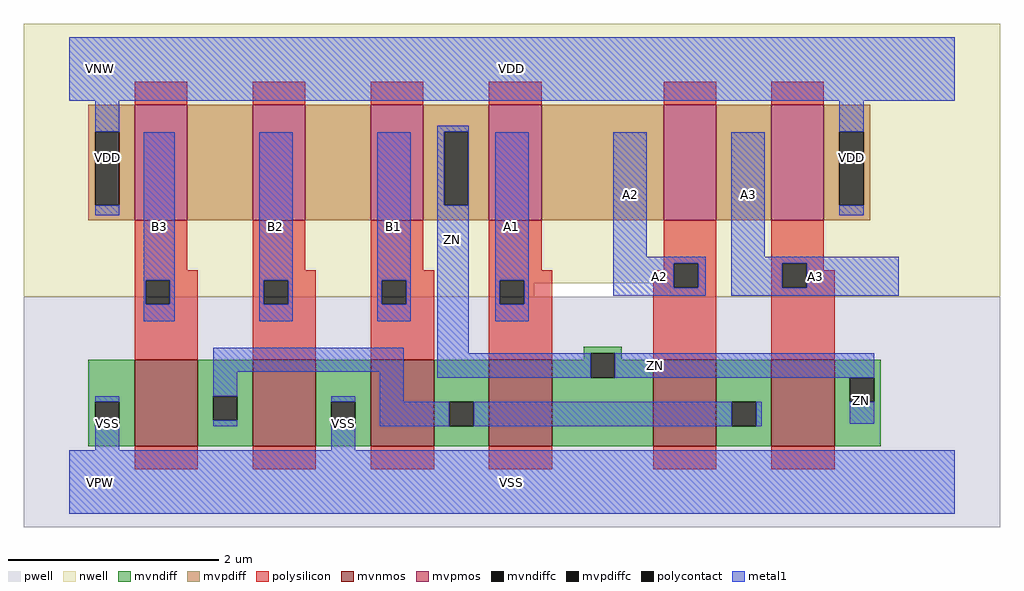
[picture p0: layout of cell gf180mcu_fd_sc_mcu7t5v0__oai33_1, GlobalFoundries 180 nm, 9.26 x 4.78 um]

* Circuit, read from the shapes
.subckt gf180mcu_fd_sc_mcu7t5v0__oai33_1 A1 A2 A3 B1 B2 B3 ZN VDD VNW VPW VSS
XM1 n1 B3 VSS VPW nfet_06v0 w=0.82u l=0.6u
XM2 VSS B2 n1 VPW nfet_06v0 w=0.82u l=0.6u
XM3 n1 B1 VSS VPW nfet_06v0 w=0.82u l=0.6u
XM4 ZN A1 n1 VPW nfet_06v0 w=0.82u l=0.6u
XM5 n1 A2 ZN VPW nfet_06v0 w=0.82u l=0.6u
XM6 ZN A3 n1 VPW nfet_06v0 w=0.82u l=0.6u
XM7 n2 B3 VDD VNW pfet_06v0 w=1.095u l=0.5u
XM8 n3 B2 n2 VNW pfet_06v0 w=1.095u l=0.5u
XM9 ZN B1 n3 VNW pfet_06v0 w=1.095u l=0.5u
XM10 n4 A1 ZN VNW pfet_06v0 w=1.095u l=0.5u
XM11 n5 A2 n4 VNW pfet_06v0 w=1.095u l=0.5u
XM12 VDD A3 n5 VNW pfet_06v0 w=1.095u l=0.5u
.ends

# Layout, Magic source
magic
tech gf180mcuD
magscale 1 10
<< nwell >>
rect -86 377 1766 870
rect -86 352 882 377
rect 1139 352 1766 377
<< pwell >>
rect -86 -86 1766 352
<< mvnmos >>
rect 124 68 244 232
rect 348 68 468 232
rect 572 68 692 232
rect 796 68 916 232
rect 1108 68 1228 232
rect 1332 68 1452 232
<< mvpmos >>
rect 124 497 224 716
rect 348 497 448 716
rect 572 497 672 716
rect 796 497 896 716
rect 1128 497 1228 716
rect 1332 497 1432 716
<< mvndiff >>
rect 976 244 1048 257
rect 976 232 989 244
rect 36 152 124 232
rect 36 106 49 152
rect 95 106 124 152
rect 36 68 124 106
rect 244 163 348 232
rect 244 117 273 163
rect 319 117 348 163
rect 244 68 348 117
rect 468 152 572 232
rect 468 106 497 152
rect 543 106 572 152
rect 468 68 572 106
rect 692 152 796 232
rect 692 106 721 152
rect 767 106 796 152
rect 692 68 796 106
rect 916 198 989 232
rect 1035 232 1048 244
rect 1035 198 1108 232
rect 916 68 1108 198
rect 1228 152 1332 232
rect 1228 106 1257 152
rect 1303 106 1332 152
rect 1228 68 1332 106
rect 1452 198 1540 232
rect 1452 152 1481 198
rect 1527 152 1540 198
rect 1452 68 1540 152
<< mvpdiff >>
rect 36 665 124 716
rect 36 525 49 665
rect 95 525 124 665
rect 36 497 124 525
rect 224 497 348 716
rect 448 497 572 716
rect 672 665 796 716
rect 672 525 711 665
rect 757 525 796 665
rect 672 497 796 525
rect 896 497 1128 716
rect 1228 497 1332 716
rect 1432 665 1520 716
rect 1432 525 1461 665
rect 1507 525 1520 665
rect 1432 497 1520 525
<< mvndiffc >>
rect 49 106 95 152
rect 273 117 319 163
rect 497 106 543 152
rect 721 106 767 152
rect 989 198 1035 244
rect 1257 106 1303 152
rect 1481 152 1527 198
<< mvpdiffc >>
rect 49 525 95 665
rect 711 525 757 665
rect 1461 525 1507 665
<< polysilicon >>
rect 124 716 224 760
rect 348 716 448 760
rect 572 716 672 760
rect 796 716 896 760
rect 1128 716 1228 760
rect 1332 716 1432 760
rect 124 402 224 497
rect 348 402 448 497
rect 572 402 672 497
rect 796 402 896 497
rect 1128 415 1228 497
rect 1128 402 1147 415
rect 124 383 244 402
rect 124 337 145 383
rect 191 337 244 383
rect 124 232 244 337
rect 348 383 468 402
rect 348 337 369 383
rect 415 337 468 383
rect 348 232 468 337
rect 572 383 692 402
rect 572 337 593 383
rect 639 337 692 383
rect 572 232 692 337
rect 796 383 916 402
rect 796 337 817 383
rect 863 337 916 383
rect 796 232 916 337
rect 1108 369 1147 402
rect 1193 369 1228 415
rect 1108 232 1228 369
rect 1332 415 1432 497
rect 1332 369 1353 415
rect 1399 402 1432 415
rect 1399 369 1452 402
rect 1332 232 1452 369
rect 124 24 244 68
rect 348 24 468 68
rect 572 24 692 68
rect 796 24 916 68
rect 1108 24 1228 68
rect 1332 24 1452 68
<< polycontact >>
rect 145 337 191 383
rect 369 337 415 383
rect 593 337 639 383
rect 817 337 863 383
rect 1147 369 1193 415
rect 1353 369 1399 415
<< metal1 >>
rect 0 724 1680 844
rect 49 665 95 724
rect 698 665 758 676
rect 49 506 95 525
rect 141 383 200 664
rect 141 337 145 383
rect 191 337 200 383
rect 141 305 200 337
rect 360 383 424 664
rect 360 337 369 383
rect 415 337 424 383
rect 360 305 424 337
rect 584 383 648 664
rect 584 337 593 383
rect 639 337 648 383
rect 584 305 648 337
rect 698 525 711 665
rect 757 525 758 665
rect 1461 665 1507 724
rect 273 209 635 255
rect 273 163 319 209
rect 49 152 95 163
rect 273 106 319 117
rect 497 152 543 163
rect 589 152 635 209
rect 698 244 758 525
rect 808 383 872 664
rect 808 337 817 383
rect 863 337 872 383
rect 1032 428 1096 664
rect 1256 428 1320 664
rect 1461 506 1507 525
rect 1032 415 1208 428
rect 1032 369 1147 415
rect 1193 369 1208 415
rect 1032 354 1208 369
rect 1256 415 1574 428
rect 1256 369 1353 415
rect 1399 369 1574 415
rect 1256 354 1574 369
rect 808 305 872 337
rect 698 198 989 244
rect 1035 198 1527 244
rect 589 106 721 152
rect 767 106 1257 152
rect 1303 106 1314 152
rect 1481 111 1527 152
rect 49 60 95 106
rect 497 60 543 106
rect 0 -60 1680 60
<< labels >>
flabel metal1 s 1256 428 1320 664 0 FreeSans 400 0 0 0 A3
port 3 nsew default input
flabel metal1 s 584 305 648 664 0 FreeSans 400 0 0 0 B1
port 4 nsew default input
flabel metal1 s 360 305 424 664 0 FreeSans 400 0 0 0 B2
port 5 nsew default input
flabel metal1 s 141 305 200 664 0 FreeSans 400 0 0 0 B3
port 6 nsew default input
flabel metal1 s 0 724 1680 844 0 FreeSans 400 0 0 0 VDD
port 8 nsew power bidirectional abutment
flabel metal1 s 497 60 543 163 0 FreeSans 400 0 0 0 VSS
port 11 nsew ground bidirectional abutment
flabel metal1 s 698 244 758 676 0 FreeSans 400 0 0 0 ZN
port 7 nsew default output
flabel metal1 s 808 305 872 664 0 FreeSans 400 0 0 0 A1
port 1 nsew default input
flabel metal1 s 1032 428 1096 664 0 FreeSans 400 0 0 0 A2
port 2 nsew default input
flabel nwell s 10 734 110 834 0 FreeSans 400 0 0 0 VNW
port 9 nsew power bidirectional
flabel pwell s 10 -50 110 50 0 FreeSans 400 0 0 0 VPW
port 10 nsew ground bidirectional
rlabel metal1 s 1032 354 1208 428 1 A2
port 2 nsew default input
rlabel metal1 s 1256 354 1574 428 1 A3
port 3 nsew default input
rlabel metal1 s 698 198 1527 244 1 ZN
port 7 nsew default output
rlabel metal1 s 1481 111 1527 198 1 ZN
port 7 nsew default output
rlabel metal1 s 1461 506 1507 724 1 VDD
port 8 nsew power bidirectional abutment
rlabel metal1 s 49 506 95 724 1 VDD
port 8 nsew power bidirectional abutment
rlabel metal1 s 49 60 95 163 1 VSS
port 11 nsew ground bidirectional abutment
rlabel metal1 s 0 -60 1680 60 1 VSS
port 11 nsew ground bidirectional abutment
<< properties >>
string FIXED_BBOX 0 0 1680 784
string GDS_END 73490
string GDS_FILE $PDKPATH/libs.ref/gf180mcu_fd_sc_mcu7t5v0/gds/gf180mcu_fd_sc_mcu7t5v0.gds
string GDS_START 69256
string LEFclass core
string LEFsite GF018hv5v_mcu_sc7
string LEFsymmetry X Y
<< end >>
